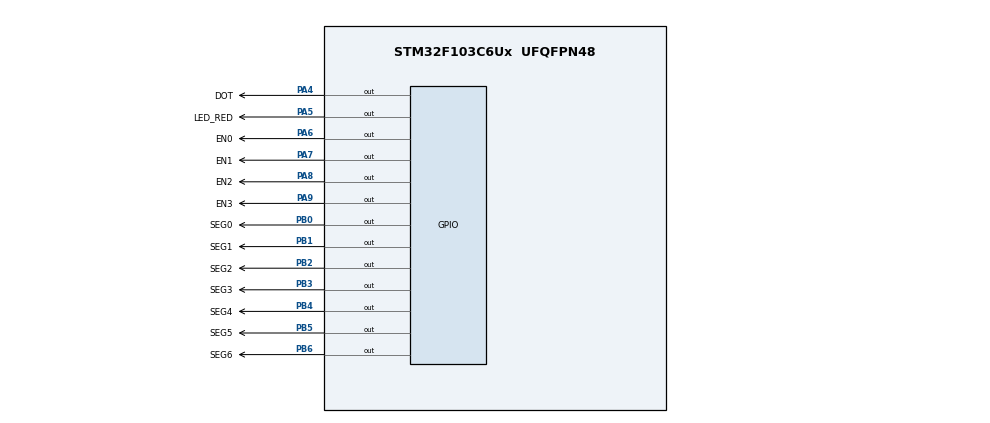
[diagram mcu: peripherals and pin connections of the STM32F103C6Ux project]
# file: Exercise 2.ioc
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Mcu.Family=STM32F1
Mcu.Name=STM32F103C6Ux
Mcu.Package=UFQFPN48
NVIC.PriorityGroup=NVIC_PRIORITYGROUP_4
NVIC.TIM2_IRQn=true\:0\:0\:false\:false\:true\:true\:true
PA4.GPIO_Label=DOT
PA4.Signal=GPIO_Output
PA5.GPIO_Label=LED_RED
PA5.Signal=GPIO_Output
PA6.GPIO_Label=EN0
PA6.Signal=GPIO_Output
PA7.GPIO_Label=EN1
PA7.Signal=GPIO_Output
PA8.GPIO_Label=EN2
PA8.Signal=GPIO_Output
PA9.GPIO_Label=EN3
PA9.Signal=GPIO_Output
PB0.GPIO_Label=SEG0
PB0.Signal=GPIO_Output
PB1.GPIO_Label=SEG1
PB1.Signal=GPIO_Output
PB2.GPIO_Label=SEG2
PB2.Signal=GPIO_Output
PB3.GPIO_Label=SEG3
PB3.Signal=GPIO_Output
PB4.GPIO_Label=SEG4
PB4.Signal=GPIO_Output
PB5.GPIO_Label=SEG5
PB5.Signal=GPIO_Output
PB6.GPIO_Label=SEG6
PB6.Signal=GPIO_Output
ProjectManager.HeapSize=0x200
ProjectManager.StackSize=0x400
ProjectManager.TargetToolchain=STM32CubeIDE
RCC.APB1Freq_Value=8000000
RCC.APB2Freq_Value=8000000
TIM2.Period=9
TIM2.Prescaler=7999
VP_SYS_VS_ND.Mode=No_Debug
VP_TIM2_VS_ClockSourceINT.Mode=Internal
board=custom

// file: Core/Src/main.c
/* USER CODE BEGIN Header */
/**
  ******************************************************************************
  * @file           : main.c
  * @brief          : Main program body
  ******************************************************************************
  * @attention
  *
  * <h2><center>&copy; Copyright (c) 2024 STMicroelectronics.
  * All rights reserved.</center></h2>
  *
  * This software component is licensed by ST under BSD 3-Clause license,
  * the "License"; You may not use this file except in compliance with the
  * License. You may obtain a copy of the License at:
  *                        opensource.org/licenses/BSD-3-Clause
  *
  ******************************************************************************
  */
/* USER CODE END Header */
#include "main.h"

TIM_HandleTypeDef htim2;

void SystemClock_Config(void);
static void MX_TIM2_Init(void);
static void MX_GPIO_Init(void);

void display7SEG(int num)
{
switch(num)
{
case 1:
	HAL_GPIO_WritePin(SEG0_GPIO_Port, SEG0_Pin, SET);
	HAL_GPIO_WritePin(SEG1_GPIO_Port, SEG1_Pin, RESET);
	HAL_GPIO_WritePin(SEG2_GPIO_Port, SEG2_Pin, RESET);
	HAL_GPIO_WritePin(SEG3_GPIO_Port, SEG3_Pin, SET);
	HAL_GPIO_WritePin(SEG4_GPIO_Port, SEG4_Pin, SET);
	HAL_GPIO_WritePin(SEG5_GPIO_Port, SEG5_Pin, SET);
	HAL_GPIO_WritePin(SEG6_GPIO_Port, SEG6_Pin, SET);
	break;
case 2:
	HAL_GPIO_WritePin(SEG0_GPIO_Port, SEG0_Pin, RESET);
	HAL_GPIO_WritePin(SEG1_GPIO_Port, SEG1_Pin, RESET);
	HAL_GPIO_WritePin(SEG2_GPIO_Port, SEG2_Pin, SET);
	HAL_GPIO_WritePin(SEG3_GPIO_Port, SEG3_Pin, RESET);
	HAL_GPIO_WritePin(SEG4_GPIO_Port, SEG4_Pin, RESET);
	HAL_GPIO_WritePin(SEG5_GPIO_Port, SEG5_Pin, SET);
	HAL_GPIO_WritePin(SEG6_GPIO_Port, SEG6_Pin, RESET);
	break;
case 3:
	HAL_GPIO_WritePin(SEG0_GPIO_Port, SEG0_Pin, RESET);
	HAL_GPIO_WritePin(SEG1_GPIO_Port, SEG1_Pin, RESET);
	HAL_GPIO_WritePin(SEG2_GPIO_Port, SEG2_Pin, RESET);
	HAL_GPIO_WritePin(SEG3_GPIO_Port, SEG3_Pin, RESET);
	HAL_GPIO_WritePin(SEG4_GPIO_Port, SEG4_Pin, SET);
	HAL_GPIO_WritePin(SEG5_GPIO_Port, SEG5_Pin, SET);
	HAL_GPIO_WritePin(SEG6_GPIO_Port, SEG6_Pin, RESET);
	break;
case 4:
	HAL_GPIO_WritePin(SEG0_GPIO_Port, SEG0_Pin, RESET);
	HAL_GPIO_WritePin(SEG1_GPIO_Port, SEG1_Pin, RESET);
	HAL_GPIO_WritePin(SEG2_GPIO_Port, SEG2_Pin, RESET);
	HAL_GPIO_WritePin(SEG3_GPIO_Port, SEG3_Pin, RESET);
	HAL_GPIO_WritePin(SEG4_GPIO_Port, SEG4_Pin, RESET);
	HAL_GPIO_WritePin(SEG5_GPIO_Port, SEG5_Pin, RESET);
	HAL_GPIO_WritePin(SEG6_GPIO_Port, SEG6_Pin, SET);
	break;
default:
	break;
}
}

int main(void)
{

  /* MCU Configuration--------------------------------------------------------*/

  /* Reset of all peripherals, Initializes the Flash interface and the Systick. */
  HAL_Init();

  /* Configure the system clock */
  SystemClock_Config();

  /* Initialize all configured peripherals */
  MX_TIM2_Init();
  MX_GPIO_Init();
  HAL_TIM_Base_Start_IT(&htim2);

  /* Infinite loop */
  while (1)
  {

  }
}

void SystemClock_Config(void)
{
  RCC_OscInitTypeDef RCC_OscInitStruct = {0};
  RCC_ClkInitTypeDef RCC_ClkInitStruct = {0};

  /** Initializes the RCC Oscillators according to the specified parameters
  * in the RCC_OscInitTypeDef structure.
  */
  RCC_OscInitStruct.OscillatorType = RCC_OSCILLATORTYPE_HSI;
  RCC_OscInitStruct.HSIState = RCC_HSI_ON;
  RCC_OscInitStruct.HSICalibrationValue = RCC_HSICALIBRATION_DEFAULT;
  RCC_OscInitStruct.PLL.PLLState = RCC_PLL_NONE;
  if (HAL_RCC_OscConfig(&RCC_OscInitStruct) != HAL_OK)
  {
    Error_Handler();
  }
  /** Initializes the CPU, AHB and APB buses clocks
  */
  RCC_ClkInitStruct.ClockType = RCC_CLOCKTYPE_HCLK|RCC_CLOCKTYPE_SYSCLK
                              |RCC_CLOCKTYPE_PCLK1|RCC_CLOCKTYPE_PCLK2;
  RCC_ClkInitStruct.SYSCLKSource = RCC_SYSCLKSOURCE_HSI;
  RCC_ClkInitStruct.AHBCLKDivider = RCC_SYSCLK_DIV1;
  RCC_ClkInitStruct.APB1CLKDivider = RCC_HCLK_DIV1;
  RCC_ClkInitStruct.APB2CLKDivider = RCC_HCLK_DIV1;

  if (HAL_RCC_ClockConfig(&RCC_ClkInitStruct, FLASH_LATENCY_0) != HAL_OK)
  {
    Error_Handler();
  }
}

static void MX_TIM2_Init(void)
{

  TIM_ClockConfigTypeDef sClockSourceConfig = {0};
  TIM_MasterConfigTypeDef sMasterConfig = {0};

  htim2.Instance = TIM2;
  htim2.Init.Prescaler = 7999;
  htim2.Init.CounterMode = TIM_COUNTERMODE_UP;
  htim2.Init.Period = 9;
  htim2.Init.ClockDivision = TIM_CLOCKDIVISION_DIV1;
  htim2.Init.AutoReloadPreload = TIM_AUTORELOAD_PRELOAD_DISABLE;
  if (HAL_TIM_Base_Init(&htim2) != HAL_OK)
  {
    Error_Handler();
  }
  sClockSourceConfig.ClockSource = TIM_CLOCKSOURCE_INTERNAL;
  if (HAL_TIM_ConfigClockSource(&htim2, &sClockSourceConfig) != HAL_OK)
  {
    Error_Handler();
  }
  sMasterConfig.MasterOutputTrigger = TIM_TRGO_RESET;
  sMasterConfig.MasterSlaveMode = TIM_MASTERSLAVEMODE_DISABLE;
  if (HAL_TIMEx_MasterConfigSynchronization(&htim2, &sMasterConfig) != HAL_OK)
  {
    Error_Handler();
  }

}

static void MX_GPIO_Init(void)
{
  GPIO_InitTypeDef GPIO_InitStruct = {0};

  /* GPIO Ports Clock Enable */
  __HAL_RCC_GPIOA_CLK_ENABLE();
  __HAL_RCC_GPIOB_CLK_ENABLE();

  /*Configure GPIO pin Output Level */
  HAL_GPIO_WritePin(GPIOA, DOT_Pin|LED_RED_Pin|EN0_Pin|EN1_Pin
                          |EN2_Pin|EN3_Pin, GPIO_PIN_RESET);

  /*Configure GPIO pin Output Level */
  HAL_GPIO_WritePin(GPIOB, SEG0_Pin|SEG1_Pin|SEG2_Pin|SEG3_Pin
                          |SEG4_Pin|SEG5_Pin|SEG6_Pin, GPIO_PIN_RESET);

  /*Configure GPIO pins : DOT_Pin LED_RED_Pin EN0_Pin EN1_Pin
                           EN2_Pin EN3_Pin */
  GPIO_InitStruct.Pin = DOT_Pin|LED_RED_Pin|EN0_Pin|EN1_Pin
                          |EN2_Pin|EN3_Pin;
  GPIO_InitStruct.Mode = GPIO_MODE_OUTPUT_PP;
  GPIO_InitStruct.Pull = GPIO_NOPULL;
  GPIO_InitStruct.Speed = GPIO_SPEED_FREQ_LOW;
  HAL_GPIO_Init(GPIOA, &GPIO_InitStruct);

  /*Configure GPIO pins : SEG0_Pin SEG1_Pin SEG2_Pin SEG3_Pin
                           SEG4_Pin SEG5_Pin SEG6_Pin */
  GPIO_InitStruct.Pin = SEG0_Pin|SEG1_Pin|SEG2_Pin|SEG3_Pin
                          |SEG4_Pin|SEG5_Pin|SEG6_Pin;
  GPIO_InitStruct.Mode = GPIO_MODE_OUTPUT_PP;
  GPIO_InitStruct.Pull = GPIO_NOPULL;
  GPIO_InitStruct.Speed = GPIO_SPEED_FREQ_LOW;
  HAL_GPIO_Init(GPIOB, &GPIO_InitStruct);

}

/* USER CODE BEGIN 4 */
int counter = 100;
int counter1 = 100;
int state = 0;

void HAL_TIM_PeriodElapsedCallback(TIM_HandleTypeDef *htim)
{
	if(state == 0)
	{
		counter--;
		HAL_GPIO_WritePin(EN0_GPIO_Port, EN0_Pin, RESET);
		HAL_GPIO_WritePin(EN1_GPIO_Port, EN1_Pin, SET);
		HAL_GPIO_WritePin(EN2_GPIO_Port, EN2_Pin, SET);
		HAL_GPIO_WritePin(EN3_GPIO_Port, EN3_Pin, SET);
		display7SEG(1);
		if(counter <= 0)
		{
			counter = 100;
			state = 1;
		}
	}
	else if (state == 1)
	{
		counter--;
		HAL_GPIO_WritePin(EN0_GPIO_Port, EN0_Pin, SET);
		HAL_GPIO_WritePin(EN1_GPIO_Port, EN1_Pin, RESET);
		HAL_GPIO_WritePin(EN2_GPIO_Port, EN2_Pin, SET);
		HAL_GPIO_WritePin(EN3_GPIO_Port, EN3_Pin, SET);
		display7SEG(2);
		if(counter <= 0)
		{
			counter = 100;
			state = 2;
		}
	}
	else if (state == 2)
	{
		counter--;
		HAL_GPIO_WritePin(EN0_GPIO_Port, EN0_Pin, SET);
		HAL_GPIO_WritePin(EN1_GPIO_Port, EN1_Pin, SET);
		HAL_GPIO_WritePin(EN2_GPIO_Port, EN2_Pin, RESET);
		HAL_GPIO_WritePin(EN3_GPIO_Port, EN3_Pin, SET);
		display7SEG(3);
		if(counter <= 0)
		{
			counter = 100;
			state = 3;
		}
	}
	else if (state == 3)
	{
		counter--;
		HAL_GPIO_WritePin(EN0_GPIO_Port, EN0_Pin, SET);
		HAL_GPIO_WritePin(EN1_GPIO_Port, EN1_Pin, SET);
		HAL_GPIO_WritePin(EN2_GPIO_Port, EN2_Pin, SET);
		HAL_GPIO_WritePin(EN3_GPIO_Port, EN3_Pin, RESET);
		display7SEG(4);
		if(counter <= 0)
		{
			counter = 100;
			state = 0;
		}
	}
		counter1--;
		if(counter1 <= 0)
		{
		counter1 = 100;
		HAL_GPIO_TogglePin ( LED_RED_GPIO_Port , LED_RED_Pin );
		HAL_GPIO_TogglePin ( DOT_GPIO_Port , DOT_Pin );
		}
}

/* USER CODE END 4 */

void Error_Handler(void)
{
  __disable_irq();
  while (1)
  {
  }
}

/************************ (C) COPYRIGHT STMicroelectronics *****END OF FILE****/
